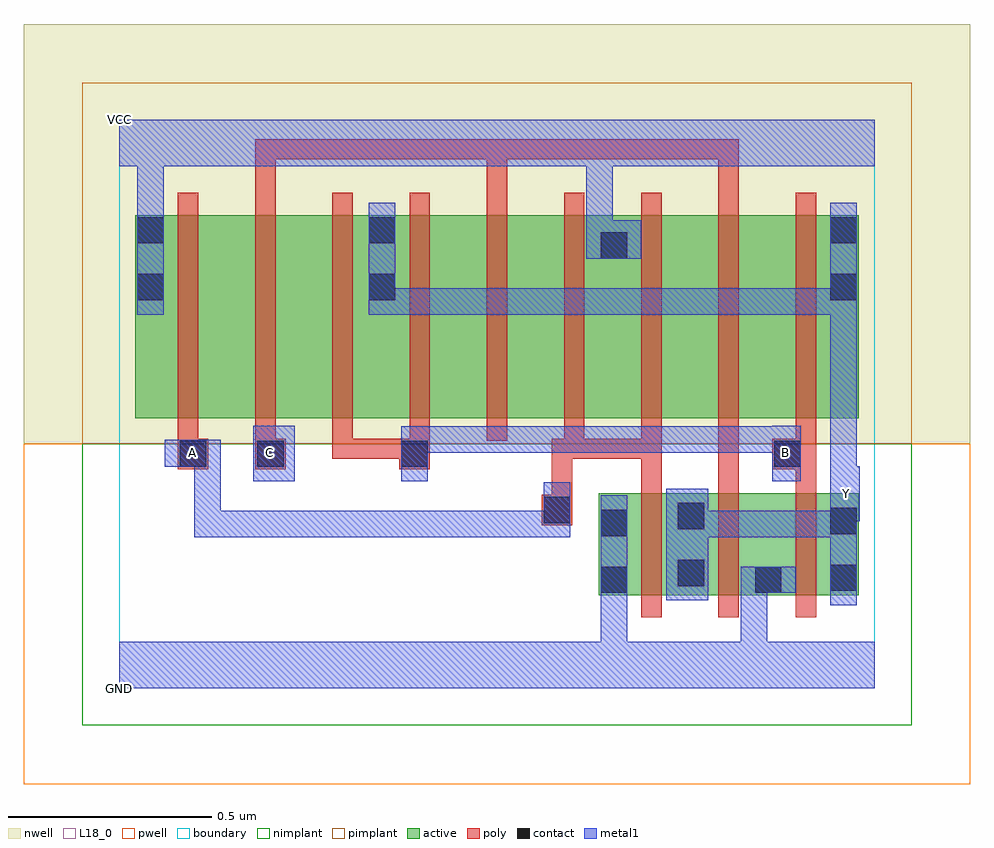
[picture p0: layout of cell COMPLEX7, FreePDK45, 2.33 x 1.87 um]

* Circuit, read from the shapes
.subckt COMPLEX7 A B C GND VCC Y
M1 Y A GND VSUBS nfet w=0.25u l=0.05u
M2 GND C Y VSUBS nfet w=0.25u l=0.05u
M3 Y B GND VSUBS nfet w=0.25u l=0.05u
M4 n1 A VCC n2 pfet w=0.5u l=0.05u
M5 n3 C n1 n2 pfet w=0.5u l=0.05u
M6 Y B n3 n2 pfet w=0.5u l=0.05u
M7 n4 B Y n2 pfet w=0.5u l=0.05u
M8 n5 C n4 n2 pfet w=0.5u l=0.05u
M9 VCC A n5 n2 pfet w=0.5u l=0.05u
M10 n6 A VCC n2 pfet w=0.5u l=0.05u
M11 n7 C n6 n2 pfet w=0.5u l=0.05u
M12 Y B n7 n2 pfet w=0.5u l=0.05u
.ends

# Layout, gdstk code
import gdstk
lib = gdstk.Library(unit=1e-6, precision=1e-09)
def R(c, l, rs):  # rectangles x0, y0, x1, y1
    for r in rs: c.add(gdstk.rectangle(r[:2], r[2:], *l))
def A(c, l, x, y, w, h, nx, ny, dx, dy):  # array of equal rectangles
    R(c, l, [(x+i*dx, y+j*dy, x+i*dx+w, y+j*dy+h) for i in range(nx) for j in range(ny)])
active = (1, 0)
pwell = (2, 0)
nwell = (3, 0)
nimplant = (4, 0)
pimplant = (5, 0)
poly = (9, 0)
contact = (10, 0)
metal1 = (11, 0)
L18_0 = (18, 0)
boundary = (235, 0)

complex7 = lib.new_cell('COMPLEX7')
A(complex7, active, 0.04, 0.665, 0.075, 0.5, 3, 1, 0.57, 0)
A(complex7, active, 0.04, 0.665, 0.225, 0.5, 3, 1, 0.57, 0)
A(complex7, active, 0.265, 0.665, 0.19, 0.5, 3, 1, 0.57, 0)
R(complex7, active, [(1.18,0.23,1.445,0.48), (1.18,0.23,1.255,0.48), (1.37,0.23,1.635,0.48), (1.37,0.23,1.445,0.48), (1.56,0.23,1.82,0.48), (1.56,0.23,1.635,0.342), (1.745,0.235,1.82,0.48), (0.455,0.665,0.685,1.165), (1.025,0.665,1.255,1.165), (1.595,0.665,1.82,1.165), (1.745,0.665,1.82,1.165)])
R(complex7, pwell, [(-0.235,-0.235,2.095,0.602)])
R(complex7, nwell, [(-0.235,0.602,2.095,1.635)])
R(complex7, nimplant, [(-0.09,-0.09,1.95,0.602)])
R(complex7, pimplant, [(-0.09,0.602,1.95,1.49)])
A(complex7, poly, 1.285, 0.175, 0.05, 0.36, 3, 1, 0.19, 0)
A(complex7, poly, 0.145, 0.565, 0.05, 0.095, 4, 1, 0.19, 0)
A(complex7, poly, 1.095, 0.565, 0.05, 0.095, 4, 1, 0.19, 0)
A(complex7, poly, 0.145, 0.61, 0.05, 0.61, 9, 1, 0.19, 0)
A(complex7, poly, 0.335, 1.17, 0.05, 0.182, 3, 1, 0.57, 0)
R(complex7, poly, [(1.04,0.402,1.115,0.477), (1.065,0.427,1.115,0.615), (1.285,0.485,1.335,0.615), (1.475,0.485,1.525,0.615), (1.665,0.485,1.715,0.59), (0.145,0.54,0.22,0.615), (0.335,0.54,0.41,0.615), (0.69,0.54,0.765,0.615), (1.607,0.54,1.715,0.615), (0.525,0.565,0.575,0.615), (0.525,0.565,0.65,0.615), (0.6,0.565,0.65,0.615), (0.6,0.565,0.74,0.615), (1.065,0.565,1.13,0.615), (1.08,0.565,1.13,0.615), (1.08,0.565,1.145,0.615), (1.095,0.565,1.22,0.615), (1.17,0.565,1.22,0.615), (1.17,0.565,1.335,0.615), (1.285,0.565,1.335,0.615), (1.475,0.565,1.525,0.615), (0.335,1.302,0.385,1.352), (0.335,1.302,0.517,1.352), (0.467,1.302,0.65,1.352), (0.467,1.302,0.517,1.352), (0.467,1.302,0.517,1.352), (0.467,1.302,0.517,1.352), (0.6,1.302,0.65,1.352), (0.6,1.302,0.822,1.352), (0.772,1.302,0.955,1.352), (0.772,1.302,0.822,1.352), (0.772,1.302,0.822,1.352), (0.772,1.302,0.822,1.352), (0.905,1.302,0.955,1.352), (0.905,1.302,1.087,1.352), (1.037,1.302,1.087,1.352), (1.037,1.302,1.087,1.352), (1.037,1.302,1.087,1.352), (1.037,1.302,1.26,1.352), (1.21,1.302,1.26,1.352), (1.21,1.302,1.392,1.352), (1.342,1.302,1.525,1.352), (1.342,1.302,1.392,1.352), (1.342,1.302,1.392,1.352), (1.342,1.302,1.392,1.352), (1.475,1.302,1.525,1.352)])
R(complex7, contact, [(1.185,0.235,1.25,0.3), (1.565,0.235,1.63,0.3), (1.75,0.24,1.815,0.305), (1.375,0.252,1.44,0.317), (1.185,0.375,1.25,0.44), (1.75,0.38,1.815,0.445), (1.375,0.392,1.44,0.457), (1.045,0.407,1.11,0.472), (0.15,0.545,0.215,0.61), (0.34,0.545,0.405,0.61), (0.695,0.545,0.76,0.61), (1.612,0.545,1.677,0.61), (0.045,0.955,0.11,1.02), (0.615,0.955,0.68,1.02), (1.75,0.955,1.815,1.02), (1.185,1.057,1.25,1.122), (0.045,1.095,0.11,1.16), (0.615,1.095,0.68,1.16), (1.75,1.095,1.815,1.16)])
A(complex7, metal1, 0.737, 0.92, 0.203, 0.065, 3, 1, 0.275, 0)
R(complex7, metal1, [(0,0,1.86,0.115), (1.185,0.05,1.25,0.115), (1.185,0.05,1.25,0.115), (1.185,0.05,1.25,0.115), (1.185,0.05,1.25,0.115), (1.185,0.05,1.25,0.265), (1.53,0.05,1.595,0.115), (1.53,0.05,1.595,0.115), (1.53,0.05,1.595,0.115), (1.53,0.05,1.595,0.115), (1.53,0.05,1.595,0.3), (1.185,0.2,1.25,0.475), (1.75,0.205,1.815,0.48), (1.347,0.217,1.45,0.492), (1.53,0.235,1.665,0.3), (0.185,0.372,0.25,0.437), (0.185,0.372,0.387,0.437), (0.185,0.372,0.25,0.61), (0.322,0.372,0.525,0.437), (0.322,0.372,0.387,0.437), (0.322,0.372,0.387,0.437), (0.322,0.372,0.387,0.437), (0.46,0.372,0.525,0.437), (0.46,0.372,0.525,0.437), (0.46,0.372,0.525,0.437), (0.46,0.372,0.802,0.437), (0.737,0.372,0.94,0.437), (0.737,0.372,0.802,0.437), (0.875,0.372,0.94,0.437), (0.875,0.372,0.94,0.437), (0.875,0.372,0.94,0.437), (0.875,0.372,1.077,0.437), (1.012,0.372,1.077,0.437), (1.012,0.372,1.077,0.437), (1.012,0.372,1.077,0.437), (1.012,0.372,1.11,0.437), (1.045,0.372,1.11,0.507), (1.385,0.372,1.49,0.437), (1.425,0.372,1.49,0.437), (1.425,0.372,1.627,0.437), (1.562,0.372,1.627,0.437), (1.562,0.372,1.627,0.437), (1.562,0.372,1.627,0.437), (1.562,0.372,1.815,0.437), (1.75,0.412,1.822,0.547), (1.75,0.415,1.815,0.48), (1.75,0.482,1.815,0.985), (0.33,0.51,0.432,0.647), (0.695,0.51,0.76,0.645), (1.607,0.51,1.677,0.647), (0.112,0.545,0.25,0.612), (0.185,0.545,0.25,0.61), (0.185,0.545,0.25,0.61), (0.695,0.58,0.94,0.645), (0.875,0.58,0.94,0.645), (0.875,0.58,0.94,0.645), (0.875,0.58,0.94,0.645), (0.875,0.58,1.077,0.645), (1.012,0.58,1.215,0.645), (1.012,0.58,1.077,0.645), (1.15,0.58,1.215,0.645), (1.15,0.58,1.215,0.645), (1.15,0.58,1.215,0.645), (1.15,0.58,1.352,0.645), (1.287,0.58,1.49,0.645), (1.287,0.58,1.352,0.645), (1.287,0.58,1.352,0.645), (1.287,0.58,1.352,0.645), (1.425,0.58,1.49,0.645), (1.425,0.58,1.672,0.645), (1.607,0.58,1.677,0.645), (1.612,0.58,1.677,0.645), (0.045,0.92,0.11,1.195), (0.615,0.92,0.68,1.195), (0.615,0.92,0.802,0.985), (0.737,0.92,0.802,0.985), (0.875,0.92,0.94,0.985), (0.875,0.92,0.94,0.985), (0.875,0.92,0.94,0.985), (0.875,0.92,1.077,0.985), (1.012,0.92,1.077,0.985), (1.15,0.92,1.215,0.985), (1.15,0.92,1.215,0.985), (1.15,0.92,1.215,0.985), (1.15,0.92,1.352,0.985), (1.287,0.92,1.352,0.985), (1.287,0.92,1.352,0.985), (1.287,0.92,1.352,0.985), (1.425,0.92,1.49,0.985), (1.425,0.92,1.677,0.985), (1.612,0.92,1.815,0.985), (1.612,0.92,1.677,0.985), (1.612,0.92,1.677,0.985), (1.612,0.92,1.677,0.985), (1.75,0.92,1.815,1.195), (1.15,1.057,1.285,1.152), (1.15,1.087,1.215,1.35), (0.045,1.13,0.11,1.35), (0,1.285,1.86,1.4), (0.045,1.285,0.11,1.35), (0.045,1.285,0.11,1.35), (1.15,1.285,1.215,1.35), (1.15,1.285,1.215,1.35)])
A(complex7, L18_0, 0.737, 0.92, 0.203, 0.065, 3, 1, 0.275, 0)
R(complex7, L18_0, [(0,0,1.86,0.115), (1.185,0.05,1.25,0.115), (1.185,0.05,1.25,0.115), (1.185,0.05,1.25,0.115), (1.185,0.05,1.25,0.115), (1.185,0.05,1.25,0.265), (1.53,0.05,1.595,0.115), (1.53,0.05,1.595,0.115), (1.53,0.05,1.595,0.115), (1.53,0.05,1.595,0.115), (1.53,0.05,1.595,0.3), (1.185,0.2,1.25,0.475), (1.75,0.205,1.815,0.48), (1.347,0.217,1.45,0.492), (1.53,0.235,1.665,0.3), (0.185,0.372,0.25,0.437), (0.185,0.372,0.25,0.61), (0.185,0.372,0.387,0.437), (0.322,0.372,0.387,0.437), (0.322,0.372,0.387,0.437), (0.322,0.372,0.387,0.437), (0.322,0.372,0.525,0.437), (0.46,0.372,0.525,0.437), (0.46,0.372,0.525,0.437), (0.46,0.372,0.525,0.437), (0.46,0.372,0.802,0.437), (0.737,0.372,0.802,0.437), (0.737,0.372,0.94,0.437), (0.875,0.372,0.94,0.437), (0.875,0.372,0.94,0.437), (0.875,0.372,0.94,0.437), (0.875,0.372,1.077,0.437), (1.012,0.372,1.077,0.437), (1.012,0.372,1.077,0.437), (1.012,0.372,1.077,0.437), (1.012,0.372,1.11,0.437), (1.045,0.372,1.11,0.507), (1.385,0.372,1.49,0.437), (1.425,0.372,1.49,0.437), (1.425,0.372,1.627,0.437), (1.562,0.372,1.627,0.437), (1.562,0.372,1.627,0.437), (1.562,0.372,1.627,0.437), (1.562,0.372,1.815,0.437), (1.75,0.412,1.822,0.547), (1.75,0.415,1.815,0.48), (1.757,0.447,1.822,0.512), (1.75,0.482,1.815,0.985), (0.33,0.51,0.432,0.647), (0.695,0.51,0.76,0.645), (1.607,0.51,1.677,0.647), (0.112,0.545,0.25,0.612), (0.185,0.545,0.25,0.61), (0.185,0.545,0.25,0.61), (0.147,0.547,0.212,0.612), (0.337,0.547,0.402,0.612), (1.607,0.547,1.672,0.612), (0.695,0.58,0.94,0.645), (0.875,0.58,0.94,0.645), (0.875,0.58,0.94,0.645), (0.875,0.58,0.94,0.645), (0.875,0.58,1.077,0.645), (1.012,0.58,1.077,0.645), (1.012,0.58,1.215,0.645), (1.15,0.58,1.215,0.645), (1.15,0.58,1.215,0.645), (1.15,0.58,1.215,0.645), (1.15,0.58,1.352,0.645), (1.287,0.58,1.352,0.645), (1.287,0.58,1.352,0.645), (1.287,0.58,1.352,0.645), (1.287,0.58,1.49,0.645), (1.425,0.58,1.49,0.645), (1.425,0.58,1.672,0.645), (1.607,0.58,1.677,0.645), (1.612,0.58,1.677,0.645), (0.045,0.92,0.11,1.195), (0.615,0.92,0.68,1.195), (0.615,0.92,0.802,0.985), (0.737,0.92,0.802,0.985), (0.875,0.92,0.94,0.985), (0.875,0.92,0.94,0.985), (0.875,0.92,0.94,0.985), (0.875,0.92,1.077,0.985), (1.012,0.92,1.077,0.985), (1.15,0.92,1.215,0.985), (1.15,0.92,1.215,0.985), (1.15,0.92,1.215,0.985), (1.15,0.92,1.352,0.985), (1.287,0.92,1.352,0.985), (1.287,0.92,1.352,0.985), (1.287,0.92,1.352,0.985), (1.425,0.92,1.49,0.985), (1.425,0.92,1.677,0.985), (1.612,0.92,1.677,0.985), (1.612,0.92,1.677,0.985), (1.612,0.92,1.677,0.985), (1.612,0.92,1.815,0.985), (1.75,0.92,1.815,1.195), (1.15,1.057,1.285,1.152), (1.15,1.087,1.215,1.35), (0.045,1.13,0.11,1.35), (0,1.285,1.86,1.4), (0.045,1.285,0.11,1.35), (0.045,1.285,0.11,1.35), (1.15,1.285,1.215,1.35), (1.15,1.285,1.215,1.35)])
R(complex7, boundary, [(0,0,1.86,1.4)])
complex7.add(gdstk.Label('A', (0.18,0.58), layer=11, texttype=0))
complex7.add(gdstk.Label('B', (1.64,0.58), layer=11, texttype=0))
complex7.add(gdstk.Label('C', (0.37,0.58), layer=11, texttype=0))
complex7.add(gdstk.Label('Y', (1.79,0.48), layer=11, texttype=0))
complex7.add(gdstk.Label('VCC', (0,1.4), layer=11, texttype=0))
complex7.add(gdstk.Label('GND', (0,0), layer=11, texttype=0))

lib.write_gds('COMPLEX7.gds')
